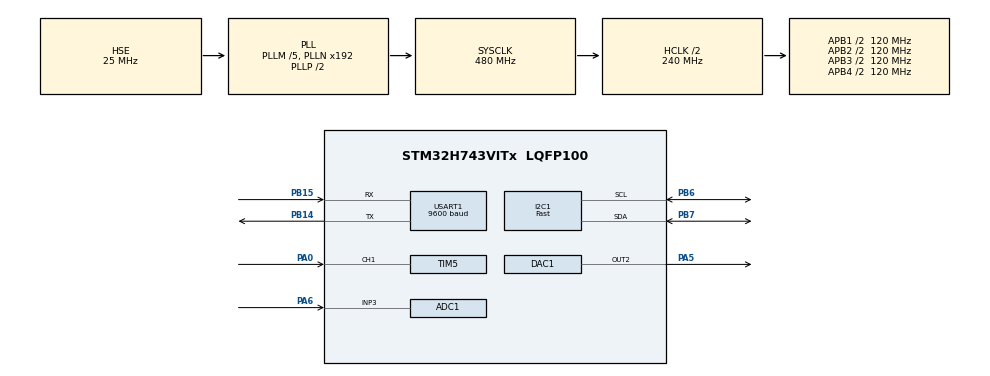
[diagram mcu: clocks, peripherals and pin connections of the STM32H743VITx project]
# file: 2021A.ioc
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ADC1.Channel-0\#ChannelRegularConversion=ADC_CHANNEL_3
ADC1.ConversionDataManagement=ADC_CONVERSIONDATA_DMA_CIRCULAR
ADC1.ExternalTrigConv=ADC_EXTERNALTRIG_T15_TRGO
ADC1.NbrOfConversionFlag=1
ADC1.OffsetNumber-0\#ChannelRegularConversion=ADC_OFFSET_NONE
ADC1.OffsetSignedSaturation-0\#ChannelRegularConversion=DISABLE
ADC1.Rank-0\#ChannelRegularConversion=1
ADC1.SamplingTime-0\#ChannelRegularConversion=ADC_SAMPLETIME_8CYCLES_5
ADC1.master=1
CORTEX_M7.AccessPermission-Cortex_Memory_Protection_Unit_Region0_Settings=MPU_REGION_FULL_ACCESS
CORTEX_M7.AccessPermission-Cortex_Memory_Protection_Unit_Region1_Settings=MPU_REGION_FULL_ACCESS
CORTEX_M7.AccessPermission-Cortex_Memory_Protection_Unit_Region2_Settings=MPU_REGION_FULL_ACCESS
CORTEX_M7.AccessPermission-Cortex_Memory_Protection_Unit_Region3_Settings=MPU_REGION_FULL_ACCESS
CORTEX_M7.AccessPermission-Cortex_Memory_Protection_Unit_Region4_Settings=MPU_REGION_FULL_ACCESS
CORTEX_M7.AccessPermission_S-Cortex_Memory_Protection_Unit_Region1_Settings_S=MPU_REGION_FULL_ACCESS
CORTEX_M7.AccessPermission_S-Cortex_Memory_Protection_Unit_Region2_Settings_S=MPU_REGION_FULL_ACCESS
CORTEX_M7.AccessPermission_Spec=MPU_REGION_FULL_ACCESS
CORTEX_M7.BaseAddress-Cortex_Memory_Protection_Unit_Region0_Settings=0x24000000
CORTEX_M7.BaseAddress-Cortex_Memory_Protection_Unit_Region1_Settings=0x30000000
CORTEX_M7.BaseAddress-Cortex_Memory_Protection_Unit_Region2_Settings=0x30020000
CORTEX_M7.BaseAddress-Cortex_Memory_Protection_Unit_Region3_Settings=0x30040000
CORTEX_M7.BaseAddress-Cortex_Memory_Protection_Unit_Region4_Settings=0x38000000
CORTEX_M7.BaseAddress_S-Cortex_Memory_Protection_Unit_Region1_Settings_S=0x30000000
CORTEX_M7.BaseAddress_S-Cortex_Memory_Protection_Unit_Region2_Settings_S=0x30020000
CORTEX_M7.BaseAddress_Spec=0x24000000
CORTEX_M7.CPU_DCache=Enabled
CORTEX_M7.CPU_ICache=Enabled
CORTEX_M7.DisableExec_S-Cortex_Memory_Protection_Unit_Region1_Settings_S=MPU_INSTRUCTION_ACCESS_ENABLE
CORTEX_M7.DisableExec_S-Cortex_Memory_Protection_Unit_Region2_Settings_S=MPU_INSTRUCTION_ACCESS_ENABLE
CORTEX_M7.DisableExec_Spec=MPU_INSTRUCTION_ACCESS_ENABLE
CORTEX_M7.Enable-Cortex_Memory_Protection_Unit_Region0_Settings=MPU_REGION_ENABLE
CORTEX_M7.Enable-Cortex_Memory_Protection_Unit_Region1_Settings=MPU_REGION_ENABLE
CORTEX_M7.Enable-Cortex_Memory_Protection_Unit_Region2_Settings=MPU_REGION_ENABLE
CORTEX_M7.Enable-Cortex_Memory_Protection_Unit_Region3_Settings=MPU_REGION_ENABLE
CORTEX_M7.Enable-Cortex_Memory_Protection_Unit_Region4_Settings=MPU_REGION_ENABLE
CORTEX_M7.Enable_S-Cortex_Memory_Protection_Unit_Region1_Settings_S=MPU_REGION_ENABLE
CORTEX_M7.Enable_S-Cortex_Memory_Protection_Unit_Region2_Settings_S=MPU_REGION_ENABLE
CORTEX_M7.IsBufferable-Cortex_Memory_Protection_Unit_Region0_Settings=MPU_ACCESS_BUFFERABLE
CORTEX_M7.IsBufferable_S-Cortex_Memory_Protection_Unit_Region1_Settings_S=MPU_ACCESS_NOT_BUFFERABLE
CORTEX_M7.IsBufferable_Spec=MPU_ACCESS_BUFFERABLE
CORTEX_M7.IsCacheable-Cortex_Memory_Protection_Unit_Region0_Settings=MPU_ACCESS_CACHEABLE
CORTEX_M7.IsCacheable_S-Cortex_Memory_Protection_Unit_Region1_Settings_S=MPU_ACCESS_NOT_CACHEABLE
CORTEX_M7.IsCacheable_Spec=MPU_ACCESS_CACHEABLE
CORTEX_M7.IsShareable_Spec=MPU_ACCESS_NOT_SHAREABLE
CORTEX_M7.MPU_Control=MPU_PRIVILEGED_DEFAULT
CORTEX_M7.Size-Cortex_Memory_Protection_Unit_Region0_Settings=MPU_REGION_SIZE_512KB
CORTEX_M7.Size-Cortex_Memory_Protection_Unit_Region1_Settings=MPU_REGION_SIZE_128KB
CORTEX_M7.Size-Cortex_Memory_Protection_Unit_Region2_Settings=MPU_REGION_SIZE_128KB
CORTEX_M7.Size-Cortex_Memory_Protection_Unit_Region3_Settings=MPU_REGION_SIZE_32KB
CORTEX_M7.Size-Cortex_Memory_Protection_Unit_Region4_Settings=MPU_REGION_SIZE_64KB
CORTEX_M7.Size_S-Cortex_Memory_Protection_Unit_Region1_Settings_S=MPU_REGION_SIZE_128KB
CORTEX_M7.Size_S-Cortex_Memory_Protection_Unit_Region2_Settings_S=MPU_REGION_SIZE_128KB
CORTEX_M7.Size_Spec=MPU_REGION_SIZE_512KB
CORTEX_M7.SubRegionDisable_Spec=0x0
CORTEX_M7.TypeExtField-Cortex_Memory_Protection_Unit_Region0_Settings=MPU_TEX_LEVEL1
CORTEX_M7.TypeExtField-Cortex_Memory_Protection_Unit_Region1_Settings=MPU_TEX_LEVEL1
CORTEX_M7.TypeExtField-Cortex_Memory_Protection_Unit_Region2_Settings=MPU_TEX_LEVEL1
CORTEX_M7.TypeExtField-Cortex_Memory_Protection_Unit_Region3_Settings=MPU_TEX_LEVEL1
CORTEX_M7.TypeExtField-Cortex_Memory_Protection_Unit_Region4_Settings=MPU_TEX_LEVEL1
CORTEX_M7.TypeExtField_S-Cortex_Memory_Protection_Unit_Region1_Settings_S=MPU_TEX_LEVEL1
CORTEX_M7.TypeExtField_S-Cortex_Memory_Protection_Unit_Region2_Settings_S=MPU_TEX_LEVEL1
CORTEX_M7.TypeExtField_Spec=MPU_TEX_LEVEL1
DAC1.DAC2_OutputBuffer-DAC_OUT2=DAC_OUTPUTBUFFER_DISABLE
DAC1.DAC_Channel-DAC_OUT2=DAC_CHANNEL_2
DAC1.DAC_Trigger-DAC_OUT2=DAC_TRIGGER_SOFTWARE
Dma.ADC1.1.Direction=DMA_PERIPH_TO_MEMORY
Dma.ADC1.1.EventEnable=DISABLE
Dma.ADC1.1.FIFOMode=DMA_FIFOMODE_DISABLE
Dma.ADC1.1.Instance=DMA1_Stream0
Dma.ADC1.1.MemDataAlignment=DMA_MDATAALIGN_HALFWORD
Dma.ADC1.1.MemInc=DMA_MINC_ENABLE
Dma.ADC1.1.Mode=DMA_NORMAL
Dma.ADC1.1.PeriphDataAlignment=DMA_PDATAALIGN_HALFWORD
Dma.ADC1.1.PeriphInc=DMA_PINC_DISABLE
Dma.ADC1.1.Polarity=HAL_DMAMUX_REQ_GEN_RISING
Dma.ADC1.1.Priority=DMA_PRIORITY_LOW
Dma.ADC1.1.RequestNumber=1
Dma.ADC1.1.SignalID=NONE
Dma.ADC1.1.SyncEnable=DISABLE
Dma.ADC1.1.SyncPolarity=HAL_DMAMUX_SYNC_NO_EVENT
Dma.ADC1.1.SyncRequestNumber=1
Dma.ADC1.1.SyncSignalID=NONE
Dma.DAC1_CH2.0.Direction=DMA_MEMORY_TO_PERIPH
Dma.DAC1_CH2.0.EventEnable=DISABLE
Dma.DAC1_CH2.0.FIFOMode=DMA_FIFOMODE_DISABLE
Dma.DAC1_CH2.0.Instance=DMA1_Stream1
Dma.DAC1_CH2.0.MemDataAlignment=DMA_MDATAALIGN_HALFWORD
Dma.DAC1_CH2.0.MemInc=DMA_MINC_ENABLE
Dma.DAC1_CH2.0.Mode=DMA_CIRCULAR
Dma.DAC1_CH2.0.PeriphDataAlignment=DMA_PDATAALIGN_HALFWORD
Dma.DAC1_CH2.0.PeriphInc=DMA_PINC_DISABLE
Dma.DAC1_CH2.0.Polarity=HAL_DMAMUX_REQ_GEN_RISING
Dma.DAC1_CH2.0.Priority=DMA_PRIORITY_LOW
Dma.DAC1_CH2.0.RequestNumber=1
Dma.DAC1_CH2.0.SignalID=NONE
Dma.DAC1_CH2.0.SyncEnable=DISABLE
Dma.DAC1_CH2.0.SyncPolarity=HAL_DMAMUX_SYNC_NO_EVENT
Dma.DAC1_CH2.0.SyncRequestNumber=1
Dma.DAC1_CH2.0.SyncSignalID=NONE
Dma.Request0=DAC1_CH2
Dma.Request1=ADC1
I2C1.I2C_Speed_Mode=I2C_Fast
I2C1.Timing=0x00B03FDB
Mcu.Family=STM32H7
Mcu.Name=STM32H743VITx
Mcu.Package=LQFP100
NVIC.DMA1_Stream0_IRQn=true\:0\:0\:false\:false\:true\:false\:true\:true
NVIC.DMA1_Stream1_IRQn=true\:0\:0\:false\:false\:true\:false\:true\:true
NVIC.PriorityGroup=NVIC_PRIORITYGROUP_4
NVIC.TIM4_IRQn=true\:0\:0\:false\:false\:true\:true\:true\:true
NVIC.TIM5_IRQn=true\:0\:0\:false\:false\:true\:true\:true\:true
PA0.Signal=S_TIM5_CH1
PA13\ (JTMS/SWDIO).Mode=Serial_Wire
PA13\ (JTMS/SWDIO).Signal=DEBUG_JTMS-SWDIO
PA14\ (JTCK/SWCLK).Mode=Serial_Wire
PA14\ (JTCK/SWCLK).Signal=DEBUG_JTCK-SWCLK
PA5.Signal=COMP_DAC12_group
PA6.Signal=ADCx_INP3
PB14.Mode=Asynchronous
PB14.Signal=USART1_TX
PB15.Mode=Asynchronous
PB15.Signal=USART1_RX
PB6.Mode=I2C
PB6.Signal=I2C1_SCL
PB7.Mode=I2C
PB7.Signal=I2C1_SDA
PH0-OSC_IN\ (PH0).Mode=HSE-External-Oscillator
PH0-OSC_IN\ (PH0).Signal=RCC_OSC_IN
PH1-OSC_OUT\ (PH1).Mode=HSE-External-Oscillator
PH1-OSC_OUT\ (PH1).Signal=RCC_OSC_OUT
ProjectManager.HeapSize=0x3000
ProjectManager.StackSize=0x1000
ProjectManager.TargetToolchain=STM32CubeIDE
RCC.ADCFreq_Value=100000000
RCC.APB1Freq_Value=120000000
RCC.APB2Freq_Value=120000000
RCC.APB3Freq_Value=120000000
RCC.APB4Freq_Value=120000000
RCC.CortexFreq_Value=480000000
RCC.D1PPRE=RCC_APB3_DIV2
RCC.D2PPRE1=RCC_APB1_DIV2
RCC.D2PPRE2=RCC_APB2_DIV2
RCC.D3PPRE=RCC_APB4_DIV2
RCC.DIVM1=5
RCC.DIVM2=25
RCC.DIVN1=192
RCC.DIVN2=200
RCC.HCLKFreq_Value=240000000
RCC.HPRE=RCC_HCLK_DIV2
RCC.HSE_Timout=5000
RCC.PLLSourceVirtual=RCC_PLLSOURCE_HSE
RCC.ProductRev=revV
RCC.SYSCLKFreq_VALUE=480000000
RCC.SYSCLKSource=RCC_SYSCLKSOURCE_PLLCLK
RCC.USBFreq_Value=480000000
SH.ADCx_INP3.0=ADC1_INP3,IN3-Single-Ended
SH.COMP_DAC12_group.0=DAC1_OUT2,DAC_OUT2
SH.S_TIM5_CH1.0=TIM5_CH1,Input_Capture1_from_TI1
TIM15.AutoReloadPreload=TIM_AUTORELOAD_PRELOAD_ENABLE
TIM15.ClockDivision=TIM_CLOCKDIVISION_DIV1
TIM15.Period=201-1
TIM15.Prescaler=20- 1
TIM15.TIM_MasterOutputTrigger=TIM_TRGO_UPDATE
TIM2.AutoReloadPreload=TIM_AUTORELOAD_PRELOAD_DISABLE
TIM2.Prescaler=0
TIM2.TIM_MasterOutputTrigger=TIM_TRGO_RESET
TIM4.Period=10000-1
TIM4.Prescaler=24000-1
TIM5.Channel-Input_Capture1_from_TI1=TIM_CHANNEL_1
TIM7.Prescaler=239
USART1.BaudRate=9600
USART1.VirtualMode-Asynchronous=VM_ASYNC
VP_TIM15_VS_ClockSourceINT.Mode=Internal
VP_TIM2_VS_ClockSourceINT.Mode=Internal
VP_TIM4_VS_ClockSourceINT.Mode=Internal
VP_TIM5_VS_ClockSourceINT.Mode=Internal
VP_TIM7_VS_ClockSourceINT.Mode=Enable_Timer
board=custom

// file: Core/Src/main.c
/* USER CODE BEGIN Header */
/**
  ******************************************************************************
  * @file           : main.c
  * @brief          : Main program body
  ******************************************************************************
  * @attention
  *
  * Copyright (c) 2024 STMicroelectronics.
  * All rights reserved.
  *
  * This software is licensed under terms that can be found in the LICENSE file
  * in the root directory of this software component.
  * If no LICENSE file comes with this software, it is provided AS-IS.
  *
  ******************************************************************************
  */
/* USER CODE END Header */
#include "main.h"
#include "adc.h"
#include "dac.h"
#include "dma.h"
#include "i2c.h"
#include "tim.h"
#include "usart.h"
#include "gpio.h"

/* USER CODE BEGIN Includes */
#include <stdio.h>
#include <stdlib.h>
#include <complex.h>
#include <string.h>
#include "signal.h"
#include "oled.h"
#include "FO.h"
#include <string.h>
#include "stm32h7xx.h"

/* USER CODE END Includes */

/* USER CODE BEGIN PTD */
ALIGN_32BYTES (uint16_t adc1_data[FO_LENGTH_HIGH]) 	__attribute__((section(".ARM.__at_0x30000000")));

__IO uint8_t AdcConvEnd = 0;

#define  LOW_FREQUENCY (uint8_t)99999
#define  HIGH_FREQUENCY (uint8_t)100001
#define RXBUFFERSIZE  256
char RxBuffer[RXBUFFERSIZE];

int max_index[7] = {0 ,0,0,0,0 , 0 ,0}  ,min_index[7] = {0,0,0,0,0,0,0};
double max[7] = {-1 , -1, -1 , -1, -1,-1,-1} , min[7] = {-1 , -1 , -1 , -1 , -1 ,-1,-1} ;
char str_2[50];
//double x[FO_LENGTH_HIGH + 100];
double * X ;
double *Y;
double *P;
double *p;
double voltage;
double v[FO_LENGTH_HIGH];
int i = 0;
int para = 0;
int flag = 0;
double last = 0;

double uo[6];
double THD;

double*s;

uint16_t GATE_OPEN,GATE_READY2CLOSE;
uint32_t Nx,Nb;
uint8_t Fre_State=LOW_FREQUENCY;
double fre;
uint8_t  capture_Cnt=0;

void itostr(int num)
{
	int sign = num,i = 0,j = 0;
	char temp[11];
	if(sign<0)
	{
		num = -num;
	}
	for(;num>0;)
	{
        temp[i] = num%10+'0';
		num/=10;
		i++;
	};
	if(sign<0)
	{
		temp[i++] = '-';
	}
	temp[i] = '\0';
	i--;
	while(i>=0)
	{
	str_2[j] = temp[i];
	j++;
	i--;
	}
	str_2[j] = '\0';
}
void PrintMag(void)
{
	 for (i = 0 ; i < FO_LENGTH_HIGH/2 ; i++)
		  	  {
//		  		  sprintf(str_2 , "%.5lf" , (P[i]));
		  		  if (max[0] < P[i] &&  i < 50 && i > 10 )
		  		  {
		  			  max_index[0] = i * 1 ;
		  		  	  max[0] =P[i];

		  		  }
		  		  else if (i < 100 )
		  		  {
		  		      max_index[0] = max_index[0];
		  		  	  max[0] = max[0];
		  		  }
		  		  for (int j = 1 ; j  <= 5 ; j ++)
		  		  {
		  			  if (max[j] < P[i] && i < (max_index[6]+20)*(j) &&  i >(max_index[6]-20)*(j) )
		  			  	  {
		  			  		  max_index[j] = i * 1 ;
		  			  	  	  max[j] =P[i];

		  			  	  }
		  		  }
//		  		HAL_UART_Transmit(&huart1,(uint8_t *)str_2 , 7   ,HAL_MAX_DELAY);
//		  		HAL_UART_Transmit(&huart1 ,(uint8_t *)"\n", 1 , HAL_MAX_DELAY);
		  	  }
}

void PrintTHD(void)
{
	  uo[0] = max[0];
	  double rate[5]={0};
	  for (i = 1 ; i <= 5; i++)
	  {
		uo[i] = (max[i]);

		rate[i-1]=sqrt(uo[i])/sqrt(uo[1]) * 100;

	  }
	  Oled_Init();
	  //Oled_Screen_Clear();
	  HAL_Delay(500);
	  Oled_WriteAsciiString("%%\n");
	  sprintf(str_2 , "Uo1/Uo1=%.2lf" , (rate[0]));
	  Oled_WriteAsciiString(str_2);
	  Oled_WriteAsciiString("%%\n");
	  	  sprintf(str_2 , "Uo2/Uo1=%.2lf" , (rate[1]));
	  	  Oled_WriteAsciiString(str_2);
	  	Oled_WriteAsciiString("%%\n");
	  	sprintf(str_2 , "Uo3/Uo1=%.2lf" , (rate[2]));
	  		  	  Oled_WriteAsciiString(str_2);
	  		  	Oled_WriteAsciiString("%%\n");
	  		  sprintf(str_2 , "Uo4/Uo1=%.2lf" , (rate[3]));
	  		Oled_WriteAsciiString(str_2);
	  		Oled_WriteAsciiString("%%\n");
	  		sprintf(str_2 , "Uo5/Uo1=%.2lf" , (rate[4]));
	  		Oled_WriteAsciiString(str_2);
	  		Oled_WriteAsciiString("%%\n");
//	  		  	  	  Oled_WriteAsciiString(str_2);
//	  		  	  	Oled_WriteAsciiString("\n");
//	  		  	sprintf(str_2 , "Uo2/Uo1=%.2lf" , (rate[4]));
//	  		  		  		  	  	  Oled_WriteAsciiString(str_2);
//	  		  		  		  	  	Oled_WriteAsciiString("\n");
//	  	Oled_WriteAsciiString("\n");
//	  		  sprintf(str_2 , "Uo3/Uo1=%.2lf" , (rate[2]));
//	  		  Oled_WriteAsciiString(str_2);
//	  		Oled_WriteAsciiString("\n");
//	  			  sprintf(str_2 , "Uo4/Uo1=%.2lf" , (rate[3]));
//	  			  Oled_WriteAsciiString(str_2);
//	  			Oled_WriteAsciiString("\n");
//	  				  sprintf(str_2 , "Uo5/Uo1=%.2lf" , (rate[4]));
//	  				  Oled_WriteAsciiString(str_2);
//	  				Oled_WriteAsciiString("\n");
	  sprintf(str_2 , "x2.val=%d\xff\xff\xff" ,(int) (rate[0] * 100));
	  HAL_UART_Transmit(&huart1,(uint8_t *)str_2 , 15 ,HAL_MAX_DELAY);
	  sprintf(str_2 , "x3.val=%d\xff\xff\xff" ,(int) (rate[1] * 100));
	  	  HAL_UART_Transmit(&huart1,(uint8_t *)str_2 , 21 ,HAL_MAX_DELAY);
	  	sprintf(str_2 , "x4.val=%d\xff\xff\xff" ,(int) (rate[2] * 100));
	  		  HAL_UART_Transmit(&huart1,(uint8_t *)str_2 , 18,HAL_MAX_DELAY);
	  		sprintf(str_2 , "x5.val=%d\xff\xff\xff" ,(int) (rate[3] * 100));
	  			  HAL_UART_Transmit(&huart1,(uint8_t *)str_2 , 21 ,HAL_MAX_DELAY);
	  			sprintf(str_2 , "x6.val=%d\xff\xff\xff" ,(int) (rate[4] * 100));
	  				  HAL_UART_Transmit(&huart1,(uint8_t *)str_2 , 21 ,HAL_MAX_DELAY);

	  THD = sqrt(uo[5] + uo[2] + uo[3] + uo[4]) / (sqrt(uo[1])) * 100;
	  sprintf(str_2 , "x1.val=%d\xff\xff\xff" ,(int) (THD * 100));
	  HAL_UART_Transmit(&huart1,(uint8_t *)str_2 , 21 ,HAL_MAX_DELAY);
	  sprintf(str_2 , "THD=%.2lf" , THD);
	  	  Oled_WriteAsciiString(str_2);
	  	  Oled_WriteAsciiString("%%\n");
	  	HAL_Delay(500);
	for(i=0;i<8192;i++)
	{
//	    itostr((v[i]*10000/3)/10000);
//	    	  HAL_UART_Transmit(&huart1,(uint8_t *)"add 2,1,x" , 11 ,HAL_MAX_DELAY);
//	    	  HAL_UART_Transmit(&huart1, (uint8_t *)str_2,11,HAL_MAX_DELAY);
//        HAL_UART_Transmit(&huart1, (uint8_t *)"\xff\xff\xff",15,HAL_MAX_DELAY);
   }

	}

void Para_init(void)
{
	for (i = 0 ; i < 6 ; i ++)
		  {
			  max[i] = 0;
			  max_index[i] = 0;

		  }
		  for ( i = 0 ; i < FO_LENGTH_HIGH ; i++)
		  {
			  P[i] = 0;
		  }
}

void adc_init(void)
{
	//HAL_UART_Transmit(&huart1,(uint8_t *)"start_adc\n",sizeof("start_adc\n"),HAL_MAX_DELAY);
	MX_ADC1_Init();
	HAL_Delay(300);
	if (HAL_ADCEx_Calibration_Start(&hadc1, ADC_CALIB_OFFSET, ADC_SINGLE_ENDED) != HAL_OK)
	{
		HAL_UART_Transmit(&huart1,(uint8_t *)"hadc1 error with HAL_ADCEx_Calibration_Start\r\n",
				sizeof("hadc1 error with HAL_ADCEx_Calibration_Start\r\n"),HAL_MAX_DELAY);
			Error_Handler();
	}

	if (HAL_ADC_Start_DMA(&hadc1, (uint32_t *)adc1_data, FO_LENGTH_HIGH) != HAL_OK)
	{
		HAL_UART_Transmit(&huart1,(uint8_t *)"hadc1 error with HAL_ADC_Start_DMA\r\n",
				sizeof("hadc1 error with HAL_ADC_Start_DMA\r\n"),HAL_MAX_DELAY);
			Error_Handler();
	}

	HAL_TIM_Base_Start(&htim15);
	while (!AdcConvEnd);
	AdcConvEnd = 0;
	HAL_ADC_DeInit(&hadc1);
	HAL_TIM_Base_Stop(&htim15);
}

void ADC1_Get(int pa , double con)
{
	//	Fre_Get_TIM();
		HAL_Delay(300);

		adc_init();

		  for (uint16_t temp = 0; temp< FO_LENGTH_HIGH;temp++)
		  	    {
		  	    	  voltage = ((double)adc1_data[temp]*3.3)/65535 *3 ;

		  	    	  v[temp] = voltage;
		  	    	  sprintf(str_2 , "%.5f" , v[temp]);
		  	    	  HAL_UART_Transmit(&huart1,(uint8_t *)str_2 , 7   ,HAL_MAX_DELAY);
		  	    	  HAL_UART_Transmit(&huart1 ,(uint8_t *)"\n", 1 , HAL_MAX_DELAY);
		  	    }

		  MX_TIM15_Init();
		  HAL_Delay(100);
		  //X = FFT(FO_LENGTH_HIGH , v) ;
		  s = FFT_ADC1(FO_LENGTH_HIGH , v , pa) ;
		  max_index[6] = (*s) * con;
}

void HandleFFT(void)
{
//				  sprintf(str_2 , "%.2f" , *s);
//				  HAL_UART_Transmit(&huart1 ,(uint8_t *)"Frequency:", 10 , HAL_MAX_DELAY);
//			  	  HAL_UART_Transmit(&huart1,(uint8_t *)str_2 , 5   ,HAL_MAX_DELAY);
//			  	  HAL_UART_Transmit(&huart1 ,(uint8_t *)"kHz\n", 4 , HAL_MAX_DELAY);
			  	  for (i = 1 ; i <= 5; i++)
			  	  {
			  		  if (flag == 1)
			  		  {
			  			X= Blackman(FO_LENGTH_HIGH ,(max_index[6]-max_index[6]/2)*i,(max_index[6]+max_index[6]/2)*i, v);
			  		  }
			  		  else
			  		  {
			  			  X = v;
			  		  }

			  		  p = FFT_Mag(FO_LENGTH_HIGH , X);
			  		  for (int j = 0 ; j  <FO_LENGTH_HIGH ; j++)
			  		  {
			  			  P[j]+=p[j];
			  		  }
			  	  }
			  	  //P = FFT_Bartlett(FO_LENGTH_HIGH , 16 ,  x);

			  	  PrintMag();
			  	  PrintTHD();
			  	  Para_init();
}

void ADC_FFT(void)
{
      //Oled_Init();
      //Oled_Screen_Clear();
	  HAL_UART_Transmit(&huart1,(uint8_t *)"start_adc\n",sizeof("start_adc\n"),HAL_MAX_DELAY);
	  Para_init();
	  para = 1;
	  HAL_TIM_Base_Stop(&htim15);
	  MX_MyTIM15_Init(para);
	  HAL_TIM_Base_Start(&htim15);
	  ADC1_Get(1,210);
	  Para_init();
	  if (max_index[6] < 750)
	  {
		  HandleFFT();
	  }
	  else
	  {
		  HAL_Delay(100);
		  Para_init();
		  para = 2;
		  HAL_TIM_Base_Stop(&htim15);
		  MX_MyTIM15_Init(para);
		  HAL_TIM_Base_Start(&htim15);
		  ADC1_Get(2 , 56.75 );
		  if (max_index[6] < 750  )
		  {
			  HandleFFT();
		  }
		  else
		  {
			  HAL_Delay(100);
			  Para_init();
			  para = 3;
			  HAL_TIM_Base_Stop(&htim15);
			  MX_MyTIM15_Init(para);
			  HAL_TIM_Base_Start(&htim15);
			  ADC1_Get(3 , 14.6);
			  if (max_index[6] < 750)
			  {
				  HandleFFT();
			  }
			  else
			  {
				  HAL_Delay(100);
				  Para_init();
				  para = 4;
				  HAL_TIM_Base_Stop(&htim15);
				  MX_MyTIM15_Init(para);
				  HAL_TIM_Base_Start(&htim15);
				  ADC1_Get(4 , 7.085);
				  HandleFFT();
			  }
		  }
	  }
	  if (THD < 10 || THD > 55)
	  {
		  flag = 0;
	  }
	  else
	  {
		  flag = 1;
	  }
}

void Fre_Get_TIM(void)
{
//	GATE_OPEN=0;
//		GATE_READY2CLOSE=0;
//		Nx=0;
//		Nb=0;

	if(capture_Cnt==0)
	{
		capture_Cnt++;
	    __HAL_TIM_SET_CAPTUREPOLARITY(&htim5, TIM_CHANNEL_1, TIM_INPUTCHANNELPOLARITY_RISING);
	    HAL_TIM_IC_Start_IT(&htim5, TIM_CHANNEL_1);         //启动输入捕获
	    GATE_OPEN=0;
	    		GATE_READY2CLOSE=0;
	    		Nx=0;
	    		Nb=0;
	}
	if(capture_Cnt==2)
	{
	    capture_Cnt=0;
	    fre = fre*100/99998;
	    sprintf(str_2 , "%.5lf" , fre );
	    HAL_UART_Transmit(&huart1,(uint8_t *)"Frequency:" , sizeof("Frequency:")   ,HAL_MAX_DELAY);
	    HAL_UART_Transmit(&huart1,(uint8_t *)str_2 , 7  ,HAL_MAX_DELAY);
	    HAL_UART_Transmit(&huart1,(uint8_t *)"kHz" , sizeof("kHz")   ,HAL_MAX_DELAY);
	    HAL_UART_Transmit(&huart1 ,(uint8_t *)"\n" , 1 , HAL_MAX_DELAY);
	    HAL_TIM_Base_Stop(&htim15);
	    MX_MyTIM15_Init();
	    HAL_Delay(100);
	    //HAL_TIM_Base_Start(&htim15);
	    //htim15.Init.Period = (int)floor(400/fre  + 0.5);//1kHz->400 , 100kHz -> 4
	    //sprintf(str_2 , "%d" , (htim15.Init.Period));
	    HAL_UART_Transmit(&huart1,(uint8_t *)"TIM:" , 4 ,HAL_MAX_DELAY);
	    HAL_UART_Transmit(&huart1,(uint8_t *)str_2 , 7 ,HAL_MAX_DELAY);
	    HAL_UART_Transmit(&huart1 ,(uint8_t *)"\n" , 1 , HAL_MAX_DELAY);
	    HAL_Delay(500);
	    GATE_OPEN=0;
	    	GATE_READY2CLOSE=0;
	    	Nx=0;
	    	Nb=0;
	}
}

void Fre_Get_ADC()
{
//	adc_init();
//		  adc2_init();
//		  adc3_init();
//		  HAL_Delay(200);
//		    for (uint16_t temp = 0; temp< FO_LENGTH_HIGH;temp++)
//		    {
//		    	  voltage = ((double)adc1_data[temp]*3.3)/65535 * 4 ;
//		    	  voltage2 = ((double)adc2_data[temp]*3.3)/65535  * 4;
//		    	  voltage3 = ((double)adc3_data[temp]*3.3)/65535 * 4 ;
//		    	  v[temp] = voltage;
//		    	  v2[temp] = voltage2;
//		    	  v3[temp] = voltage3;
//		    	  sprintf(str_2 , "%.5f" , v2[temp]);
//		    	  HAL_UART_Transmit(&huart1,(uint8_t *)str_2 , 7   ,HAL_MAX_DELAY);
//		    	  HAL_UART_Transmit(&huart1 ,(uint8_t *)"\n", 1 , HAL_MAX_DELAY);
//		    }
//	s = FFT_ADC1(FO_LENGTH_HIGH , v) ;
//
//		    if ( *s >= 100.2)
//		    {
//		  	  sprintf(str_2 , "%.5lf" , *s);
//		  	  HAL_UART_Transmit(&huart1,(uint8_t *)"Frequency:" , sizeof("Frequency:")   ,HAL_MAX_DELAY);
//		  	  HAL_UART_Transmit(&huart1,(uint8_t *)str_2 , 6  ,HAL_MAX_DELAY);
//		  	  HAL_UART_Transmit(&huart1,(uint8_t *)"MHz" , sizeof("MHz")   ,HAL_MAX_DELAY);
//		  	  HAL_UART_Transmit(&huart1 ,(uint8_t *)"\n" , 1 , HAL_MAX_DELAY);
//		    }
//		  	else
//		  	{
//		  		s = FFT_ADC2(FO_LENGTH_HIGH , v2);
//		  		if (*s >=100.0 )
//		  		{
//		  			sprintf(str_2 , "%.5lf" , *s);
//		  			HAL_UART_Transmit(&huart1,(uint8_t *)"Frequency:" , sizeof("Frequency:")   ,HAL_MAX_DELAY);
//		  			HAL_UART_Transmit(&huart1,(uint8_t *)str_2 , 6  ,HAL_MAX_DELAY);
//		  			HAL_UART_Transmit(&huart1,(uint8_t *)"MHz" , sizeof("MHz")   ,HAL_MAX_DELAY);
//		  		    HAL_UART_Transmit(&huart1 ,(uint8_t *)"\n" , 1 , HAL_MAX_DELAY);
//		  		}
//		  		else
//		  		{
//		  			s = FFT_ADC3(FO_LENGTH_HIGH , v3);
//		  			if (*s >= 1100)
//		  			{
//		  				sprintf(str_2 , "%.5lf" , *s);
//		  				HAL_UART_Transmit(&huart1,(uint8_t *)"Frequency:" , sizeof("Frequency:")   ,HAL_MAX_DELAY);
//		  				HAL_UART_Transmit(&huart1,(uint8_t *)str_2 , 6  ,HAL_MAX_DELAY);
//		  				HAL_UART_Transmit(&huart1,(uint8_t *)"kHz" , sizeof("kHz")   ,HAL_MAX_DELAY);
//		  				HAL_UART_Transmit(&huart1 ,(uint8_t *)"\n" , 1 , HAL_MAX_DELAY);
//		  			}
//		  			else{Fre_Get_TIM();}
//		        }
//		    }
}

/* USER CODE END PTD */

void SystemClock_Config(void);
static void MPU_Config(void);
/* USER CODE BEGIN PFP */

void Turn2HIGH_FREQUENCY_MODE(void);
void Turn2LOW_FREQUENCY_MODE(void);
void MX_TIM5_Init_ETR(void);
/* USER CODE END PFP */

int main(void)
{

  /* MPU Configuration--------------------------------------------------------*/
  MPU_Config();

  /* Enable I-Cache---------------------------------------------------------*/
  SCB_EnableICache();

  /* Enable D-Cache---------------------------------------------------------*/
  SCB_EnableDCache();

  /* MCU Configuration--------------------------------------------------------*/

  /* Reset of all peripherals, Initializes the Flash interface and the Systick. */
  HAL_Init();

  /* Configure the system clock */
  SystemClock_Config();

  /* Initialize all configured peripherals */
  MX_GPIO_Init();
  MX_DMA_Init();
  MX_TIM7_Init();
  MX_USART1_UART_Init();
  MX_I2C1_Init();
  MX_TIM15_Init();
  MX_TIM2_Init();
  MX_DAC1_Init();
  MX_TIM5_Init();
  MX_TIM4_Init();
  MX_ADC1_Init();
  /* USER CODE BEGIN 2 */
  Oled_Init();
  __HAL_TIM_CLEAR_IT(&htim4, TIM_IT_UPDATE);
  __HAL_TIM_CLEAR_IT(&htim5, TIM_IT_UPDATE);

//
//  adc_init();
//
//
//  for (uint16_t temp = 0; temp< FO_LENGTH_HIGH;temp++)
//  	    {
//  	    	  voltage = ((double)adc1_data[temp]*3.3)/65535 *2 ;
//
//  	    	  v[temp] = voltage;
//  	    	  sprintf(str_2 , "%.5f" , v[temp]);
//  	    	  HAL_UART_Transmit(&huart1,(uint8_t *)str_2 , 7   ,HAL_MAX_DELAY);
//  	    	  HAL_UART_Transmit(&huart1 ,(uint8_t *)"\n", 1 , HAL_MAX_DELAY);
//  	    }
//  HAL_Delay(100);
//  X = FFT(FO_LENGTH_HIGH , v) ;
//  P = FFT_Mag(FO_LENGTH_HIGH  , v);
//  for (i = 0 ; i < FO_LENGTH_HIGH ; i++)
//  {
//	  sprintf(str_2 , "%.5lf" , (P[i]));
//	  if (max[0] < P[i] &&  i < 100 && i > 10 )
//	  {
//		  max_index[0] = i * 1.0 ;
//	  	  max[0] =P[i];
//
//	  }
//	  else if (i < 100 )
//	  {
//	      max_index[0] = max_index[0];
//	  	  max[0] = max[0];
//	  }
//	  for (int j = 1 ; j  <= 5 ; j ++)
//	  {
//		  if (max[j] < P[i] && i < 720*(j) &&  i > 680*(j) )
//		  	  {
//		  		  max_index[j] = i * 1.0 ;
//		  	  	  max[j] =P[i];
//
//		  	  }
//		  else if (i < 800*(j) &&  i > 720*(j))
//		  	  {
//		  		  max_index[j] = max_index[j];
//		  	  	  max[j] = max[j];
//		  	  }
//	  }
//		  HAL_UART_Transmit(&huart1,(uint8_t *)str_2 , 7 ,HAL_MAX_DELAY);
//		  HAL_UART_Transmit(&huart1 ,(uint8_t *)"\n" , 1 , HAL_MAX_DELAY);
//  }
//  for (i = 0 ; i <= 5; i++)
//  {
//	  uo[i] = (max[i]);
//	  HAL_UART_Transmit(&huart1,(uint8_t *)"Uo" , 2 ,HAL_MAX_DELAY);
//	  sprintf(str_2 , "%d" , i );
//	  HAL_UART_Transmit(&huart1,(uint8_t *)str_2 , 1 ,HAL_MAX_DELAY);
//	  HAL_UART_Transmit(&huart1,(uint8_t *)":" , 1 ,HAL_MAX_DELAY);
//	  sprintf(str_2 , "%.5lf" , sqrt(uo[i]));
//	  HAL_UART_Transmit(&huart1,(uint8_t *)str_2 , 7 ,HAL_MAX_DELAY);
//	  HAL_UART_Transmit(&huart1 ,(uint8_t *)"\n" , 1 , HAL_MAX_DELAY);
//  }
//
//  THD = sqrt(uo[5] + uo[2] + uo[3] + uo[4]) / (sqrt(uo[1]));
//  sprintf(str_2 , "%.5lf" , THD);
//  HAL_UART_Transmit(&huart1,(uint8_t *)"THD:" , 4 ,HAL_MAX_DELAY);
//  HAL_UART_Transmit(&huart1,(uint8_t *)str_2 , 7 ,HAL_MAX_DELAY);
//  HAL_UART_Transmit(&huart1 ,(uint8_t *)"\n" , 1 , HAL_MAX_DELAY);
  /* USER CODE END 2 */

  /* Infinite loop */
  /* USER CODE BEGIN WHILE */
  while (1)
  {
	  ADC_FFT();
	   // sprintf(str_2 , "%.5lf" , 0);
//	    HAL_UART_Transmit(&huart1,(uint8_t *)"0" , 1 ,HAL_MAX_DELAY);
//	    HAL_UART_Transmit(&huart1,(uint8_t *)"1" , 1 ,HAL_MAX_DELAY);
//	    HAL_UART_Transmit(&huart1 ,(uint8_t *)"\n" , 1 , HAL_MAX_DELAY);
	  //HAL_Delay(1000);
	  //Oled_Screen_Clear();
	  //Fre_Get_TIM();

    /* USER CODE END WHILE */

  }
}

void SystemClock_Config(void)
{
  RCC_OscInitTypeDef RCC_OscInitStruct = {0};
  RCC_ClkInitTypeDef RCC_ClkInitStruct = {0};

  /** Supply configuration update enable
  */
  HAL_PWREx_ConfigSupply(PWR_LDO_SUPPLY);

  /** Configure the main internal regulator output voltage
  */
  __HAL_PWR_VOLTAGESCALING_CONFIG(PWR_REGULATOR_VOLTAGE_SCALE1);

  while(!__HAL_PWR_GET_FLAG(PWR_FLAG_VOSRDY)) {}

  __HAL_RCC_SYSCFG_CLK_ENABLE();
  __HAL_PWR_VOLTAGESCALING_CONFIG(PWR_REGULATOR_VOLTAGE_SCALE0);

  while(!__HAL_PWR_GET_FLAG(PWR_FLAG_VOSRDY)) {}

  /** Macro to configure the PLL clock source
  */
  __HAL_RCC_PLL_PLLSOURCE_CONFIG(RCC_PLLSOURCE_HSE);

  /** Initializes the RCC Oscillators according to the specified parameters
  * in the RCC_OscInitTypeDef structure.
  */
  RCC_OscInitStruct.OscillatorType = RCC_OSCILLATORTYPE_HSE;
  RCC_OscInitStruct.HSEState = RCC_HSE_ON;
  RCC_OscInitStruct.PLL.PLLState = RCC_PLL_ON;
  RCC_OscInitStruct.PLL.PLLSource = RCC_PLLSOURCE_HSE;
  RCC_OscInitStruct.PLL.PLLM = 5;
  RCC_OscInitStruct.PLL.PLLN = 192;
  RCC_OscInitStruct.PLL.PLLP = 2;
  RCC_OscInitStruct.PLL.PLLQ = 2;
  RCC_OscInitStruct.PLL.PLLR = 2;
  RCC_OscInitStruct.PLL.PLLRGE = RCC_PLL1VCIRANGE_2;
  RCC_OscInitStruct.PLL.PLLVCOSEL = RCC_PLL1VCOWIDE;
  RCC_OscInitStruct.PLL.PLLFRACN = 0;
  if (HAL_RCC_OscConfig(&RCC_OscInitStruct) != HAL_OK)
  {
    Error_Handler();
  }

  /** Initializes the CPU, AHB and APB buses clocks
  */
  RCC_ClkInitStruct.ClockType = RCC_CLOCKTYPE_HCLK|RCC_CLOCKTYPE_SYSCLK
                              |RCC_CLOCKTYPE_PCLK1|RCC_CLOCKTYPE_PCLK2
                              |RCC_CLOCKTYPE_D3PCLK1|RCC_CLOCKTYPE_D1PCLK1;
  RCC_ClkInitStruct.SYSCLKSource = RCC_SYSCLKSOURCE_PLLCLK;
  RCC_ClkInitStruct.SYSCLKDivider = RCC_SYSCLK_DIV1;
  RCC_ClkInitStruct.AHBCLKDivider = RCC_HCLK_DIV2;
  RCC_ClkInitStruct.APB3CLKDivider = RCC_APB3_DIV2;
  RCC_ClkInitStruct.APB1CLKDivider = RCC_APB1_DIV2;
  RCC_ClkInitStruct.APB2CLKDivider = RCC_APB2_DIV2;
  RCC_ClkInitStruct.APB4CLKDivider = RCC_APB4_DIV2;

  if (HAL_RCC_ClockConfig(&RCC_ClkInitStruct, FLASH_LATENCY_4) != HAL_OK)
  {
    Error_Handler();
  }
}

/* USER CODE BEGIN 4 */

void HAL_ADC_ConvCpltCallback(ADC_HandleTypeDef* hadc)
{
   if(hadc->Instance == ADC1)
	{
      //SCB_InvalidateDCache_by_Addr((uint32_t *) &adc1_data[0], ADC1_BUFFER_SIZE);
   }
	 AdcConvEnd = 1;
}

void HAL_TIM_IC_CaptureCallback(TIM_HandleTypeDef *htim)
{
 //printf("捕获回调\n");
	if(!GATE_OPEN)
	{
		//启动闸门 TIM5 �??始计数标准信�??
		__HAL_TIM_CLEAR_IT(&htim4, TIM_IT_UPDATE);
		HAL_TIM_Base_Start_IT(&htim4);
		HAL_TIM_Base_Start(&htim2);
		GATE_OPEN=1;
	}
	else{
		//测频中，捕捉到一次信�?? 输入计数值加1
		Nx++;
		if(Nx>10000){
			HAL_TIM_Base_Stop(&htim2);
			HAL_TIM_IC_Stop_IT(&htim5, TIM_CHANNEL_1);
			HAL_TIM_Base_Stop_IT(&htim4);
            Turn2HIGH_FREQUENCY_MODE();
		}
	}

	if(GATE_OPEN&&GATE_READY2CLOSE)
	{
		//关闭闸门 停止捕捉
		HAL_TIM_Base_Stop(&htim2);
		HAL_TIM_IC_Stop_IT(&htim5, TIM_CHANNEL_1);
		HAL_TIM_Base_Stop_IT(&htim4);
		//锁存Nx Nb数据 计算频率
		Nb=__HAL_TIM_GetCounter(&htim2);
		fre=((double)Nx)/((double)Nb)*240000000.000000;
		//判断
		if(fre<10000.0)
		{
			capture_Cnt++;
			//准备下一次测
			__HAL_TIM_SetCounter(&htim2,0);  //计数不会因为定时器暂停�?�清
		}
		else
		{
            Turn2HIGH_FREQUENCY_MODE();
		}
	}
}

/**
  * @brief  Period elapsed callback in non blocking mode
  * @param  htim: TIM handle
  * @retval None
  */
void HAL_TIM_PeriodElapsedCallback(TIM_HandleTypeDef *htim)
{
	//闸门溢出 规定测量时间
	if(TIM4 == htim->Instance&&Fre_State==LOW_FREQUENCY)
    {
			GATE_READY2CLOSE=1;
    }
	else if(TIM4 == htim->Instance&&Fre_State==HIGH_FREQUENCY)
    {
			HAL_TIM_Base_Stop_IT(&htim4);
			HAL_TIM_Base_Stop_IT(&htim5);
			HAL_TIM_Base_Stop(&htim2);
			Nx+=TIM5->CNT;
			Nb=TIM2->CNT;
	    	fre=((double)Nx)/((double)Nb)*240000000.000000;
			if(fre>=10000.0)
			{
			  capture_Cnt++;
	  	      __HAL_TIM_SetCounter(&htim2,0);
			  __HAL_TIM_SetCounter(&htim5,0);
			}
			else
			{
				Turn2LOW_FREQUENCY_MODE();
			}
    }
}

void Parameter_Init(void)
{

	GATE_OPEN=0;
	GATE_READY2CLOSE=0;
	Nx=0;
	Nb=0;
}

void Turn2HIGH_FREQUENCY_MODE(void)
{
   // printf("高频测量\n");
		    Fre_State=HIGH_FREQUENCY;
			MX_TIM5_Init_ETR();

			Parameter_Init();
	  	   __HAL_TIM_SetCounter(&htim2,0);
			__HAL_TIM_SetCounter(&htim5,0);

			HAL_TIM_Base_Start_IT(&htim4);
			HAL_TIM_Base_Start_IT(&htim5);
			HAL_TIM_Base_Start(&htim2);
}

void Turn2LOW_FREQUENCY_MODE(void)
{
   // printf("低频测量\n");
		Fre_State=LOW_FREQUENCY;
		Parameter_Init();
	    __HAL_TIM_SetCounter(&htim2,0);
		MX_TIM5_Init();
		HAL_TIM_IC_Start_IT(&htim5, TIM_CHANNEL_1);    //启动输入捕获
}

/* USER CODE END 4 */

/* MPU Configuration */

void MPU_Config(void)
{
  MPU_Region_InitTypeDef MPU_InitStruct = {0};

  /* Disables the MPU */
  HAL_MPU_Disable();

  /** Initializes and configures the Region and the memory to be protected
  */
  MPU_InitStruct.Enable = MPU_REGION_ENABLE;
  MPU_InitStruct.Number = MPU_REGION_NUMBER0;
  MPU_InitStruct.BaseAddress = 0x24000000;
  MPU_InitStruct.Size = MPU_REGION_SIZE_512KB;
  MPU_InitStruct.SubRegionDisable = 0x0;
  MPU_InitStruct.TypeExtField = MPU_TEX_LEVEL1;
  MPU_InitStruct.AccessPermission = MPU_REGION_FULL_ACCESS;
  MPU_InitStruct.DisableExec = MPU_INSTRUCTION_ACCESS_ENABLE;
  MPU_InitStruct.IsShareable = MPU_ACCESS_NOT_SHAREABLE;
  MPU_InitStruct.IsCacheable = MPU_ACCESS_CACHEABLE;
  MPU_InitStruct.IsBufferable = MPU_ACCESS_BUFFERABLE;

  HAL_MPU_ConfigRegion(&MPU_InitStruct);

  /** Initializes and configures the Region and the memory to be protected
  */
  MPU_InitStruct.Number = MPU_REGION_NUMBER1;
  MPU_InitStruct.BaseAddress = 0x30000000;
  MPU_InitStruct.Size = MPU_REGION_SIZE_128KB;
  MPU_InitStruct.IsCacheable = MPU_ACCESS_NOT_CACHEABLE;
  MPU_InitStruct.IsBufferable = MPU_ACCESS_NOT_BUFFERABLE;

  HAL_MPU_ConfigRegion(&MPU_InitStruct);

  /** Initializes and configures the Region and the memory to be protected
  */
  MPU_InitStruct.Number = MPU_REGION_NUMBER2;
  MPU_InitStruct.BaseAddress = 0x30020000;

  HAL_MPU_ConfigRegion(&MPU_InitStruct);

  /** Initializes and configures the Region and the memory to be protected
  */
  MPU_InitStruct.Number = MPU_REGION_NUMBER3;
  MPU_InitStruct.BaseAddress = 0x30040000;
  MPU_InitStruct.Size = MPU_REGION_SIZE_32KB;

  HAL_MPU_ConfigRegion(&MPU_InitStruct);

  /** Initializes and configures the Region and the memory to be protected
  */
  MPU_InitStruct.Number = MPU_REGION_NUMBER4;
  MPU_InitStruct.BaseAddress = 0x38000000;
  MPU_InitStruct.Size = MPU_REGION_SIZE_64KB;

  HAL_MPU_ConfigRegion(&MPU_InitStruct);
  /* Enables the MPU */
  HAL_MPU_Enable(MPU_PRIVILEGED_DEFAULT);

}

void Error_Handler(void)
{
  __disable_irq();
  while (1)
  {
  }
}
